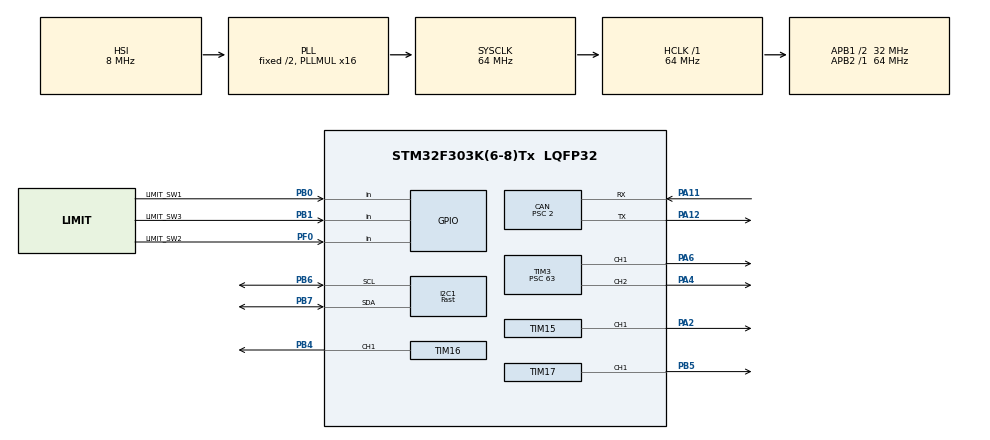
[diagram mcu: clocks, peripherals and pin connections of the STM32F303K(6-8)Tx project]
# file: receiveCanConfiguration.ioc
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CAN.BS1=CAN_BS1_13TQ
CAN.BS2=CAN_BS2_2TQ
CAN.CalculateBaudRate=1000000
CAN.CalculateTimeBit=1000
CAN.CalculateTimeQuantum=62.5
CAN.Prescaler=2
Dma.Request0=TIM17_CH1/UP
Dma.Request1=TIM16_CH1/UP
Dma.TIM16_CH1/UP.1.Direction=DMA_MEMORY_TO_PERIPH
Dma.TIM16_CH1/UP.1.Instance=DMA1_Channel3
Dma.TIM16_CH1/UP.1.MemDataAlignment=DMA_MDATAALIGN_HALFWORD
Dma.TIM16_CH1/UP.1.MemInc=DMA_MINC_ENABLE
Dma.TIM16_CH1/UP.1.Mode=DMA_NORMAL
Dma.TIM16_CH1/UP.1.PeriphDataAlignment=DMA_PDATAALIGN_HALFWORD
Dma.TIM16_CH1/UP.1.PeriphInc=DMA_PINC_DISABLE
Dma.TIM16_CH1/UP.1.Priority=DMA_PRIORITY_VERY_HIGH
Dma.TIM17_CH1/UP.0.Direction=DMA_MEMORY_TO_PERIPH
Dma.TIM17_CH1/UP.0.Instance=DMA1_Channel1
Dma.TIM17_CH1/UP.0.MemDataAlignment=DMA_MDATAALIGN_HALFWORD
Dma.TIM17_CH1/UP.0.MemInc=DMA_MINC_ENABLE
Dma.TIM17_CH1/UP.0.Mode=DMA_NORMAL
Dma.TIM17_CH1/UP.0.PeriphDataAlignment=DMA_PDATAALIGN_HALFWORD
Dma.TIM17_CH1/UP.0.PeriphInc=DMA_PINC_DISABLE
Dma.TIM17_CH1/UP.0.Priority=DMA_PRIORITY_VERY_HIGH
I2C1.I2C_Speed_Mode=I2C_Fast
I2C1.Timing=0x0010020A
Mcu.Family=STM32F3
Mcu.Name=STM32F303K(6-8)Tx
Mcu.Package=LQFP32
NVIC.CAN_RX0_IRQn=true\:0\:0\:false\:false\:true\:true\:true\:true
NVIC.CAN_TX_IRQn=true\:0\:0\:false\:false\:true\:true\:true\:true
NVIC.DMA1_Channel1_IRQn=true\:0\:0\:false\:false\:true\:false\:true\:true
NVIC.DMA1_Channel3_IRQn=true\:0\:0\:false\:false\:true\:false\:true\:true
NVIC.PriorityGroup=NVIC_PRIORITYGROUP_4
NVIC.TIM1_BRK_TIM15_IRQn=true\:0\:0\:false\:false\:true\:true\:true\:true
PA11.Mode=CAN_Activate
PA11.Signal=CAN_RX
PA12.Mode=CAN_Activate
PA12.Signal=CAN_TX
PA13.Mode=Serial_Wire
PA13.Signal=SYS_JTMS-SWDIO
PA14.Mode=Serial_Wire
PA14.Signal=SYS_JTCK-SWCLK
PA2.Signal=S_TIM15_CH1
PA4.Signal=S_TIM3_CH2
PA6.Signal=S_TIM3_CH1
PB0.GPIO_Label=LIMIT_SW1
PB0.GPIO_PuPd=GPIO_PULLUP
PB0.Signal=GPIO_Input
PB1.GPIO_Label=LIMIT_SW3
PB1.GPIO_PuPd=GPIO_PULLUP
PB1.Signal=GPIO_Input
PB4.Signal=S_TIM16_CH1
PB5.GPIO_PuPd=GPIO_NOPULL
PB5.GPIO_Speed=GPIO_SPEED_FREQ_HIGH
PB5.Signal=S_TIM17_CH1
PB6.GPIO_Speed=GPIO_SPEED_FREQ_LOW
PB6.Mode=I2C
PB6.Signal=I2C1_SCL
PB7.GPIO_Speed=GPIO_SPEED_FREQ_LOW
PB7.Mode=I2C
PB7.Signal=I2C1_SDA
PF0\ /\ OSC_IN.GPIO_Label=LIMIT_SW2
PF0\ /\ OSC_IN.GPIO_PuPd=GPIO_PULLUP
PF0\ /\ OSC_IN.Signal=GPIO_Input
ProjectManager.HeapSize=0x200
ProjectManager.StackSize=0x400
ProjectManager.TargetToolchain=STM32CubeIDE
RCC.AHBFreq_Value=64000000
RCC.APB1CLKDivider=RCC_HCLK_DIV2
RCC.APB1Freq_Value=32000000
RCC.APB1TimFreq_Value=64000000
RCC.APB2Freq_Value=64000000
RCC.APB2TimFreq_Value=64000000
RCC.CortexFreq_Value=64000000
RCC.HCLKFreq_Value=64000000
RCC.HSE_VALUE=8000000
RCC.HSI_VALUE=8000000
RCC.PLLMUL=RCC_PLL_MUL16
RCC.SYSCLKFreq_VALUE=64000000
RCC.SYSCLKSourceVirtual=RCC_SYSCLKSOURCE_PLLCLK
SH.S_TIM15_CH1.0=TIM15_CH1,PWM Generation1 CH1
SH.S_TIM16_CH1.0=TIM16_CH1,PWM Generation1 CH1
SH.S_TIM17_CH1.0=TIM17_CH1,PWM Generation1 CH1
SH.S_TIM3_CH1.0=TIM3_CH1,PWM Generation1 CH1
SH.S_TIM3_CH2.0=TIM3_CH2,PWM Generation2 CH2
TIM15.Channel-PWM\ Generation1\ CH1=TIM_CHANNEL_1
TIM15.Period=19999
TIM15.Prescaler=63
TIM16.Channel=TIM_CHANNEL_1
TIM17.AutoReloadPreload=TIM_AUTORELOAD_PRELOAD_ENABLE
TIM17.Channel=TIM_CHANNEL_1
TIM17.Period=79
TIM17.Prescaler=0
TIM3.AutoReloadPreload=TIM_AUTORELOAD_PRELOAD_DISABLE
TIM3.Channel-PWM\ Generation1\ CH1=TIM_CHANNEL_1
TIM3.Channel-PWM\ Generation2\ CH2=TIM_CHANNEL_2
TIM3.OCFastMode_PWM-PWM\ Generation1\ CH1=TIM_OCFAST_DISABLE
TIM3.Period=19999
TIM3.Prescaler=63
VP_TIM15_VS_ClockSourceINT.Mode=Internal
VP_TIM16_VS_ClockSourceINT.Mode=Enable_Timer
VP_TIM17_VS_ClockSourceINT.Mode=Enable_Timer
VP_TIM3_VS_ClockSourceINT.Mode=Internal
board=custom

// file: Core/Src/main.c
/* USER CODE BEGIN Header */
/**
 ******************************************************************************
 * @file           : main.c
 * @brief          : Main program body (CAN + BNO055 + Limit Switch + LED)
 ******************************************************************************
 */
/* USER CODE END Header */
#include "main.h"
#include "can.h"
#include "dma.h"
#include "i2c.h"
#include "tim.h"
#include "gpio.h"

/* USER CODE BEGIN Includes */
#include "limit_switch.h"
#include "LED_lite.h"
#include "LED_effects.h"
#include "bno055_hal.h"
#include "bno055_calibration.h"
//#include "bno055_uart.h"
#include <stdbool.h>

// --- CANから受け取る指令値 ---
volatile uint8_t emergency_stop_flag = 0; // 遠隔非常停止フラグ (1で停止)
volatile int received_LED_cmd;
volatile int received_LED_status;
volatile uint32_t received_LED_grid_states = 0U;

// --- CAN通信用の変数 ---
CAN_RxHeaderTypeDef RxHeader;
uint8_t RxData[8];
volatile uint8_t DataReadyFlag = 0;
#define CAN_TIMEOUT_MS 500
volatile uint32_t last_can_rx_time = 0;
volatile uint8_t is_timeout = 1;
volatile int32_t debug_can_rx_elapsed_ms = 0;

volatile uint32_t debug_last_id = 0;       // 最後に受信したID
volatile uint8_t debug_last_data[8] = { 0 };       // 最後に受信したデータ
volatile uint32_t debug_last_dlc = 0;      // 最後に受信したデータ長 (0〜8)
volatile uint32_t debug_rx_count = 0;

#define LOOP_TIME                   10U

#define BNO055_ACTIVE_MODE BNO055_MODE_IMUPLUS
#define BNO055_RETRY_INTERVAL_MS  1000U
#define BNO055_MAX_READ_ERRORS    3U
#define BNO055_CALIBRATION_CHECK_PERIOD_MS 1000U
#define BNO055_CALIBRATION_STABLE_SAMPLES 5U
#define CAN_RETRY_INTERVAL_MS       1000U
#define CAN_MAX_TX_ERRORS           10U

volatile bool can_connected = false;
volatile uint32_t last_can_retry_time = 0;
uint32_t can_tx_error_count = 0;
uint32_t can_init_error_count = 0;
uint32_t can_restart_count = 0;

bool bno055_connected = false;
uint32_t last_bno055_retry_time = 0;
uint32_t bno055_init_error_count = 0;
uint32_t bno055_read_error_count = 0;
uint32_t bno055_tx_count = 0;
uint8_t bno055_sample_phase = 0U;
volatile BNO055_Status debug_bno_init_status = BNO055_ERROR;
volatile BNO055_Status debug_bno_read_status = BNO055_ERROR;
volatile uint16_t debug_bno_i2c_address = 0U;
volatile uint32_t debug_bno_i2c_error = HAL_I2C_ERROR_NONE;
uint32_t last_bno055_calibration_check_time = 0;
uint32_t bno055_calibration_save_error_count = 0;
bool bno055_calibration_profile_saved = false;
bool bno055_calibration_profile_restored = false;
uint8_t bno055_calibration_stable_count = 0U;

BNO055_Handle bno055;
BNO055_Quaternion imu_quat;
BNO055_Vector3Int16 imu_angular_velocity;
BNO055_Vector3Int16 imu_linear_acceleration;
BNO055_Euler imu_euler;
BNO055_Calibration imu_calib;

uint32_t last_loop_time;
uint32_t last_bno_com_time;
uint32_t bno_com_priod;

volatile uint32_t debug_invalid_quat_count = 0;
volatile int16_t debug_bad_qx = 0;
volatile int16_t debug_bad_qy = 0;
volatile int16_t debug_bad_qz = 0;
volatile int16_t debug_bad_qw = 0;
volatile uint32_t debug_bad_norm_sq = 0;

volatile uint8_t debug_page_id = 0;
volatile uint8_t debug_system_status = 0;
//volatile uint8_t debug_self_test = 0;
volatile uint8_t debug_system_error = 0;

volatile uint8_t debug_operation_mode  = 0xFFU;
volatile uint8_t debug_sys_status = 0xFFU;
volatile uint8_t debug_self_test = 0xFFU;
volatile uint8_t debug_sys_error = 0xFFU;

volatile int16_t debug_gyro_x = 0;
volatile int16_t debug_gyro_y = 0;
volatile int16_t debug_gyro_z = 0;
volatile BNO055_Status debug_gyro_status = BNO055_ERROR;
volatile int16_t debug_accel_x = 0;
volatile int16_t debug_accel_y = 0;
volatile int16_t debug_accel_z = 0;
volatile BNO055_Status debug_accel_status = BNO055_ERROR;

/* USER CODE END Includes */

void SystemClock_Config(void);

/* USER CODE BEGIN 0 */
/*
 * Recover an I2C bus held busy by a slave: release SDA, pulse SCL up to
 * nine times, generate a STOP condition, then restore I2C1 alternate pins.
 */
static void BNO055_RecoverI2CBus(void) {
	GPIO_InitTypeDef gpio = { 0 };

	(void)HAL_I2C_DeInit(&hi2c1);
	__HAL_RCC_GPIOB_CLK_ENABLE();

	gpio.Pin = GPIO_PIN_6 | GPIO_PIN_7;
	gpio.Mode = GPIO_MODE_OUTPUT_OD;
	gpio.Pull = GPIO_PULLUP;
	gpio.Speed = GPIO_SPEED_FREQ_LOW;
	HAL_GPIO_Init(GPIOB, &gpio);

	HAL_GPIO_WritePin(GPIOB, GPIO_PIN_6 | GPIO_PIN_7, GPIO_PIN_SET);
	HAL_Delay(2U);

	for (uint32_t pulse = 0U;
			(pulse < 9U) &&
			(HAL_GPIO_ReadPin(GPIOB, GPIO_PIN_7) == GPIO_PIN_RESET);
			++pulse) {
		HAL_GPIO_WritePin(GPIOB, GPIO_PIN_6, GPIO_PIN_RESET);
		HAL_Delay(1U);
		HAL_GPIO_WritePin(GPIOB, GPIO_PIN_6, GPIO_PIN_SET);
		HAL_Delay(1U);
	}

	/* STOP: SDA low -> SCL high -> SDA high. */
	HAL_GPIO_WritePin(GPIOB, GPIO_PIN_7, GPIO_PIN_RESET);
	HAL_Delay(1U);
	HAL_GPIO_WritePin(GPIOB, GPIO_PIN_6, GPIO_PIN_SET);
	HAL_Delay(1U);
	HAL_GPIO_WritePin(GPIOB, GPIO_PIN_7, GPIO_PIN_SET);
	HAL_Delay(2U);

	HAL_GPIO_DeInit(GPIOB, GPIO_PIN_6 | GPIO_PIN_7);
	MX_I2C1_Init();
}
//BNO055の初期化関数
static bool BNO055_TryInitialize(void) {
	BNO055_Status status;
	uint8_t calibration_profile[BNO055_CALIBRATION_PROFILE_SIZE];

	/*
	 * IMUPLUS uses the accelerometer and gyroscope without the magnetometer.
	 * This provides a gravity-referenced relative orientation and avoids magnetic
	 * disturbances from motors and the robot frame.
	 */
	status = BNO055_Init(&bno055, &hi2c1,
		BNO055_I2C_ADDR_LOW, BNO055_ACTIVE_MODE);
	if (status != BNO055_OK) {
		status = BNO055_Init(&bno055, &hi2c1,
			BNO055_I2C_ADDR_HIGH, BNO055_ACTIVE_MODE);
	}
	debug_bno_init_status = status;
	debug_bno_i2c_address = bno055.address;
	debug_bno_i2c_error = HAL_I2C_GetError(&hi2c1);

	/* A valid Flash profile removes the need for manual calibration at boot. */
	bno055_calibration_profile_restored = false;
	bno055_calibration_profile_saved =
			BNO055_CalibrationStorageLoad(calibration_profile);
	if ((status == BNO055_OK) && bno055_calibration_profile_saved) {
		const BNO055_Status calibration_status =
			BNO055_ApplyCalibrationProfile(&bno055, calibration_profile);
		bno055_calibration_profile_restored =
			(calibration_status == BNO055_OK);
		/* Optional calibration restore must not mark the sensor disconnected. */
		if (calibration_status != BNO055_OK) {
			(void)BNO055_SetMode(&bno055, BNO055_ACTIVE_MODE);
		}
	}

	//初期化に成功したら，デバック用に各種ステータスを読み取って終了
	if (status == BNO055_OK) {
		bno055_connected = true;
		bno055_read_error_count = 0;
		HAL_Delay(10);
		(void)BNO055_ReadOperationMode(&bno055,
				(uint8_t*) &debug_operation_mode );
		HAL_Delay(2U);
		(void)BNO055_ReadSystemStatus(&bno055,
				(uint8_t*) &debug_sys_status, (uint8_t*) &debug_self_test,
				(uint8_t*) &debug_sys_error);
		return true;
	}
	// 失敗したら，再度呼ばれるまで待機
	bno055_connected = false;
	bno055_init_error_count++;

	return false;
}

static void BNO055_CalibrationTask(uint32_t now_ms) {
	uint8_t calibration_profile[BNO055_CALIBRATION_PROFILE_SIZE];

	if (!bno055_connected || bno055_calibration_profile_saved) {
		return;
	}
	if ((uint32_t)(now_ms - last_bno055_calibration_check_time) <
			BNO055_CALIBRATION_CHECK_PERIOD_MS) {
		return;
	}
	last_bno055_calibration_check_time = now_ms;

	if (BNO055_ReadCalibration(&bno055, &imu_calib) != BNO055_OK) {
		bno055_calibration_stable_count = 0U;
		return;
	}
	/* IMUPLUS does not use the magnetometer, so mag calibration is irrelevant. */
	if ((imu_calib.system != 3U) || (imu_calib.gyro != 3U) ||
		(imu_calib.accel != 3U)) {
		bno055_calibration_stable_count = 0U;
		return;
	}
	if (bno055_calibration_stable_count < BNO055_CALIBRATION_STABLE_SAMPLES) {
		bno055_calibration_stable_count++;
	}
	if (bno055_calibration_stable_count < BNO055_CALIBRATION_STABLE_SAMPLES) {
		return;
	}

	/* This path runs only once in the lifetime of the saved profile. */
	if ((BNO055_ReadCalibrationProfile(&bno055, calibration_profile) == BNO055_OK) &&
			BNO055_CalibrationStorageSave(calibration_profile)) {
		bno055_calibration_profile_saved = true;
	} else {
		bno055_calibration_save_error_count++;
	}
}

/* Reset a wedged I2C peripheral before attempting to configure the sensor. */
static bool BNO055_Recover(void) {
	BNO055_RecoverI2CBus();
	return BNO055_TryInitialize();
}
static bool CAN_TryInitialize(void) {
	CAN_FilterTypeDef filter = { 0 };
	HAL_CAN_DeactivateNotification(&hcan,
	CAN_IT_RX_FIFO0_MSG_PENDING |
	CAN_IT_BUSOFF |
	CAN_IT_ERROR);
	HAL_CAN_Stop(&hcan);
	HAL_CAN_DeInit(&hcan);
	MX_CAN_Init();

	// Filter 0
	filter.FilterBank = 0;
	filter.FilterMode = CAN_FILTERMODE_IDMASK;
	filter.FilterScale = CAN_FILTERSCALE_32BIT;
	filter.FilterIdHigh = (0x200 << 5);
	filter.FilterIdLow = 0x0000;
	filter.FilterMaskIdHigh = (0x7F0 << 5);
	filter.FilterMaskIdLow = 0x0000;
	filter.FilterFIFOAssignment = CAN_RX_FIFO0;
	filter.FilterActivation = ENABLE;
	filter.SlaveStartFilterBank = 14;

	if (HAL_CAN_ConfigFilter(&hcan, &filter) != HAL_OK) {
		can_connected = false;
		can_init_error_count++;
		return false;
	}

	// Filter 1
	filter.FilterBank = 1;
	filter.FilterIdHigh = (0x100 << 5);

	if (HAL_CAN_ConfigFilter(&hcan, &filter) != HAL_OK) {
		can_connected = false;
		can_init_error_count++;
		return false;
	}

	if (HAL_CAN_Start(&hcan) != HAL_OK) {
		can_connected = false;
		can_init_error_count++;
		return false;
	}

	if (HAL_CAN_ActivateNotification(&hcan,
	CAN_IT_RX_FIFO0_MSG_PENDING |
	CAN_IT_BUSOFF |
	CAN_IT_ERROR) != HAL_OK) {
		can_connected = false;
		can_init_error_count++;
		return false;
	}

	can_connected = true;
	can_tx_error_count = 0;
	can_restart_count++;
	CAN_ResetTxDiagnostics();
	LimitSwitch_Init(HAL_GetTick());

	return true;
}

static bool BNO055_ReadAndSend(void) {
	BNO055_Status status = BNO055_ReadQuaternion(&bno055, &imu_quat);
	debug_bno_read_status = status;
	if (status != BNO055_OK) {
		debug_bno_i2c_error = HAL_I2C_GetError(&hi2c1);
		return false;
	}

	/* Quaternion is sampled every slot (100 Hz). Read only one vector in each
	 * slot so that I2C work and CAN traffic remain bounded: gyro and linear
	 * acceleration alternate at 50 Hz each. */
	const bool read_gyro = (bno055_sample_phase == 0U);
	if (read_gyro) {
		debug_gyro_status = BNO055_ReadGyroscope(
				&bno055, &imu_angular_velocity);
		status = debug_gyro_status;
		if (status == BNO055_OK) {
			debug_gyro_x = imu_angular_velocity.x;
			debug_gyro_y = imu_angular_velocity.y;
			debug_gyro_z = imu_angular_velocity.z;
		}
	} else {
		debug_accel_status = BNO055_ReadLinearAcceleration(
				&bno055, &imu_linear_acceleration);
		status = debug_accel_status;
		if (status == BNO055_OK) {
			debug_accel_x = imu_linear_acceleration.x;
			debug_accel_y = imu_linear_acceleration.y;
			debug_accel_z = imu_linear_acceleration.z;
		}
	}
	const bool vector_valid = (status == BNO055_OK);
	if (!vector_valid) {
		debug_bno_read_status = status;
		debug_bno_i2c_error = HAL_I2C_GetError(&hi2c1);
	}

	debug_bno_i2c_error = HAL_I2C_GetError(&hi2c1);

	const CAN_SendResult quat_result = CAN_SendBno055Quaternion(
			imu_quat.x, imu_quat.y, imu_quat.z, imu_quat.w);
	/* A valid quaternion is sent even when the alternating vector read failed.
	 * This keeps the 100 Hz attitude stream continuous while the I2C recovery
	 * logic handles the failed gyro/acceleration transaction. */
	const CAN_SendResult vector_result = vector_valid && read_gyro
			? CAN_SendBno055AngularVelocity(
					imu_angular_velocity.x, imu_angular_velocity.y,
					imu_angular_velocity.z)
			: vector_valid
			? CAN_SendBno055LinearAcceleration(
					imu_linear_acceleration.x, imu_linear_acceleration.y,
					imu_linear_acceleration.z)
			: CAN_SEND_OK;

	if ((quat_result == CAN_SEND_ERROR) ||
			(vector_result == CAN_SEND_ERROR)) {
		can_tx_error_count++;
	} else if ((quat_result == CAN_SEND_OK) &&
			(vector_result == CAN_SEND_OK)) {
		bno055_sample_phase ^= 1U;
		if (vector_valid) {
			bno055_read_error_count = 0U;
		}
		can_tx_error_count = 0U;
		bno055_tx_count++;
		const uint32_t tx_now = HAL_GetTick();
		bno_com_priod = tx_now - last_bno_com_time;
		last_bno_com_time = tx_now;
	}
	return vector_valid;
}
/* USER CODE END 0 */

int main(void)
{

  /* MCU Configuration--------------------------------------------------------*/

  /* Reset of all peripherals, Initializes the Flash interface and the Systick. */
  HAL_Init();

  /* Configure the system clock */
  SystemClock_Config();

  /* Initialize all configured peripherals */
  MX_GPIO_Init();
  MX_DMA_Init();
  MX_CAN_Init();
  MX_TIM15_Init();
  MX_TIM3_Init();
  MX_TIM17_Init();
  MX_I2C1_Init();
  MX_TIM16_Init();
  /* USER CODE BEGIN 2 */
	BNO055_RecoverI2CBus();
	HAL_Delay(1500);
	//BNO055初期化
	bno055_connected = BNO055_TryInitialize();
	last_bno055_retry_time = HAL_GetTick();

	can_connected = CAN_TryInitialize();
	last_can_retry_time = HAL_GetTick();

	//駆動電源の出力をON,OFFするピン
	//HIGH出力で，電源入る，LOW出力でOFFに
	HAL_GPIO_WritePin(GPIOB, GPIO_PIN_1, GPIO_PIN_SET);

	// LEDの初期化
#if LED_FEATURE_ENABLED
	LED_Effects_Init();
#endif
	last_can_rx_time = HAL_GetTick();
	last_loop_time = HAL_GetTick();
	last_bno_com_time = last_loop_time;

  /* USER CODE END 2 */

  /* Infinite loop */
  /* USER CODE BEGIN WHILE */
	while (1) {
		//ループ周期調整
		uint32_t now = HAL_GetTick();
		if ((uint32_t)(now - last_loop_time) < LOOP_TIME) {
			HAL_Delay(1U);
			continue;
		}
		last_loop_time = now;

		/* Stop the previous LED DMA/timers before any BNO055 I2C access. */
		LED_WaitForIdle();

		// CANが切れていないかの確認
		if (!can_connected) {
			if ((uint32_t) (now - last_can_retry_time) >= CAN_RETRY_INTERVAL_MS) {
				last_can_retry_time = now;
				CAN_TryInitialize();
			}
		}
		if (can_tx_error_count >= CAN_MAX_TX_ERRORS) {
			can_connected = false;
			can_tx_error_count = 0;
			last_can_retry_time = now;
		}
		if (can_connected && !CAN_TxHealthTask(now)) {
			/* Mailboxes stayed full: abort stale frames and restart immediately. */
			can_connected = false;
			can_tx_error_count = 0;
			last_can_retry_time = now;
			(void)CAN_TryInitialize();
		}
		if (!bno055_connected) {
			if ((uint32_t) (now - last_bno055_retry_time)
					>= BNO055_RETRY_INTERVAL_MS) {
				last_bno055_retry_time = now;
				bno055_connected = BNO055_Recover();
			}
			// errorの許容値を超えたら再起動を試みる
		}
		if (bno055_read_error_count >= BNO055_MAX_READ_ERRORS) {
			bno055_connected = false;
			bno055_read_error_count = 0;
			last_bno055_retry_time = now;
		}

		BNO055_CalibrationTask(now);

		/* ---- Deterministic 10 ms CAN slot ----
		 * LimitSW/heartbeat are due on different slots and consume at most one
		 * mailbox. Quaternion plus one vector consume the remaining two. */
		if (can_connected) {
			if (CAN_HeartbeatTask(now) == CAN_SEND_ERROR) {
				can_tx_error_count++;
			}
			if (!LimitSwitch_Task(now)) {
				can_tx_error_count++;
			}
			if (bno055_connected && !BNO055_ReadAndSend()) {
				bno055_read_error_count++;
			}
		}
#if LED_FEATURE_ENABLED
			/* Separate the final BNO055 I2C edge from the WS2812 DMA start. */
			if (bno055_connected) {
				HAL_Delay(2U);
			}
			/* HAL_GetTick() must be sampled here, not at the beginning of the
			 * loop. A CAN IRQ may make last_can_rx_time newer than the old loop
			 * timestamp; signed subtraction treats that race as "not timed out"
			 * instead of wrapping to a huge uint32_t value. */
			const uint32_t timeout_now = HAL_GetTick();
			debug_can_rx_elapsed_ms =
					(int32_t)(timeout_now - last_can_rx_time);
			if (debug_can_rx_elapsed_ms > (int32_t)CAN_TIMEOUT_MS) {
				is_timeout = 1U;
				LED_Effects_Render(LED_MODE_ERROR, (uint8_t)received_LED_status,
						(uint32_t)received_LED_grid_states);
			} else {
				// --- 6. LEDの点灯更新 ---
				LED_Effects_Render((uint8_t)received_LED_cmd, (uint8_t)received_LED_status,
						(uint32_t)received_LED_grid_states);
			}
#endif
    /* USER CODE END WHILE */

	}
}

void SystemClock_Config(void)
{
  RCC_OscInitTypeDef RCC_OscInitStruct = {0};
  RCC_ClkInitTypeDef RCC_ClkInitStruct = {0};
  RCC_PeriphCLKInitTypeDef PeriphClkInit = {0};

  /** Initializes the RCC Oscillators according to the specified parameters
  * in the RCC_OscInitTypeDef structure.
  */
  RCC_OscInitStruct.OscillatorType = RCC_OSCILLATORTYPE_HSI;
  RCC_OscInitStruct.HSIState = RCC_HSI_ON;
  RCC_OscInitStruct.HSICalibrationValue = RCC_HSICALIBRATION_DEFAULT;
  RCC_OscInitStruct.PLL.PLLState = RCC_PLL_ON;
  RCC_OscInitStruct.PLL.PLLSource = RCC_PLLSOURCE_HSI;
  RCC_OscInitStruct.PLL.PLLMUL = RCC_PLL_MUL16;
  if (HAL_RCC_OscConfig(&RCC_OscInitStruct) != HAL_OK)
  {
    Error_Handler();
  }

  /** Initializes the CPU, AHB and APB buses clocks
  */
  RCC_ClkInitStruct.ClockType = RCC_CLOCKTYPE_HCLK|RCC_CLOCKTYPE_SYSCLK
                              |RCC_CLOCKTYPE_PCLK1|RCC_CLOCKTYPE_PCLK2;
  RCC_ClkInitStruct.SYSCLKSource = RCC_SYSCLKSOURCE_PLLCLK;
  RCC_ClkInitStruct.AHBCLKDivider = RCC_SYSCLK_DIV1;
  RCC_ClkInitStruct.APB1CLKDivider = RCC_HCLK_DIV2;
  RCC_ClkInitStruct.APB2CLKDivider = RCC_HCLK_DIV1;

  if (HAL_RCC_ClockConfig(&RCC_ClkInitStruct, FLASH_LATENCY_2) != HAL_OK)
  {
    Error_Handler();
  }
  PeriphClkInit.PeriphClockSelection = RCC_PERIPHCLK_I2C1;
  PeriphClkInit.I2c1ClockSelection = RCC_I2C1CLKSOURCE_HSI;
  if (HAL_RCCEx_PeriphCLKConfig(&PeriphClkInit) != HAL_OK)
  {
    Error_Handler();
  }
}

/* USER CODE BEGIN 4 */
void HAL_CAN_RxFifo0MsgPendingCallback(CAN_HandleTypeDef *hcan) {
	// CANの受信バッファ(FIFO0)からデータを読み出す
	if (HAL_CAN_GetRxMessage(hcan, CAN_RX_FIFO0, &RxHeader, RxData) == HAL_OK) {

		// --- デバッグ用：受信した全メッセージを無条件で記録 ---
//        debug_last_id = RxHeader.StdId;
//        debug_last_dlc = RxHeader.DLC;
//        for(uint8_t i = 0; i < RxHeader.DLC; i++) {
//            debug_last_data[i] = RxData[i];
//        }
		debug_rx_count++;
		/* Any successfully received CAN frame proves that the bus is alive.
		 * Do not flash the LEDs merely because heartbeat ID 0x101 was delayed. */
		last_can_rx_time = HAL_GetTick();
		is_timeout = 0U;
		// ------------------------------------------------------------
		// --- 指定フォーマットの解析処理（ID: 0x20n） ---
		if (RxHeader.StdId == 0x101) {
			//空送信による通信状態管理
			last_can_rx_time = HAL_GetTick();
			is_timeout = 0;
		} else if ((RxHeader.StdId == 0x201U) && (RxHeader.DLC == 5U)) {
			//LEDの光り方指定
			received_LED_cmd = (int) RxData[0];
			received_LED_status = RxData[1];
			received_LED_grid_states = (uint32_t)RxData[2] |
					((uint32_t)RxData[3] << 8U) |
					((uint32_t)RxData[4] << 16U);
			//emergency_stop_flag = (bool)(RxData[0] && 0b00000001);
		}
	}
}
void HAL_CAN_ErrorCallback(CAN_HandleTypeDef *hcan) {
	uint32_t err = HAL_CAN_GetError(hcan);
	if ((err & HAL_CAN_ERROR_BOF) != 0U) {
		can_connected = false;
		last_can_retry_time = HAL_GetTick();
	} else if (err != HAL_CAN_ERROR_NONE) {
		can_tx_error_count++;
	}
}
/* USER CODE END 4 */

void Error_Handler(void)
{
	__disable_irq();
	while (1) {
	}
}
